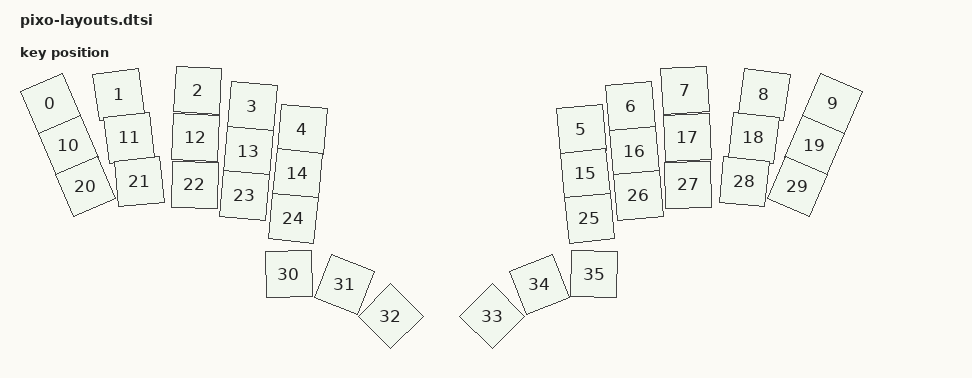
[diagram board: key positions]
#include <physical_layouts.dtsi>
/ {
    pixo_physical_layout: pixo_physical_layout {
        compatible = "zmk,physical-layout";
        display-name = "Pixo";
        kscan = <&kscan0>;
        transform = <&default_transform>;

        keys  //                     w   h    x    y     rot    rx    ry
            = <&key_physical_attrs 100 100    0   27 (-2340)    50    77>
            , <&key_physical_attrs 100 100  137    8  (-790)   187    58>
            , <&key_physical_attrs 100 100  295    0     321   345    50>
            , <&key_physical_attrs 100 100  404   32     475   454    82>
            , <&key_physical_attrs 100 100  504   78     501   554   128>
            , <&key_physical_attrs 100 100 1062   78  (-501)  1112   128>
            , <&key_physical_attrs 100 100 1161   32  (-475)  1211    82>
            , <&key_physical_attrs 100 100 1270    0  (-321)  1320    50>
            , <&key_physical_attrs 100 100 1428    8     790  1478    58>
            , <&key_physical_attrs 100 100 1565   27    2340  1615    77>
            , <&key_physical_attrs 100 100   36  110 (-2340)    86   160>
            , <&key_physical_attrs 100 100  158   95  (-690)   208   145>
            , <&key_physical_attrs 100 100  291   95     221   341   145>
            , <&key_physical_attrs 100 100  397  122     475   447   172>
            , <&key_physical_attrs 100 100  495  167     541   545   217>
            , <&key_physical_attrs 100 100 1070  167  (-541)  1120   217>
            , <&key_physical_attrs 100 100 1168  122  (-475)  1218   172>
            , <&key_physical_attrs 100 100 1274   95  (-221)  1324   145>
            , <&key_physical_attrs 100 100 1407   95     690  1457   145>
            , <&key_physical_attrs 100 100 1529  110    2340  1579   160>
            , <&key_physical_attrs 100 100   71  192 (-2340)   121   242>
            , <&key_physical_attrs 100 100  178  183  (-590)   228   233>
            , <&key_physical_attrs 100 100  289  189     121   339   239>
            , <&key_physical_attrs 100 100  389  211     475   439   261>
            , <&key_physical_attrs 100 100  486  256     581   536   306>
            , <&key_physical_attrs 100 100 1079  256  (-581)  1129   306>
            , <&key_physical_attrs 100 100 1176  211  (-475)  1226   261>
            , <&key_physical_attrs 100 100 1276  189  (-121)  1326   239>
            , <&key_physical_attrs 100 100 1388  183     590  1438   233>
            , <&key_physical_attrs 100 100 1494  192    2340  1544   242>
            , <&key_physical_attrs 100 100  477  368  (-119)   527   418>
            , <&key_physical_attrs 100 100  588  389    2181   638   439>
            , <&key_physical_attrs 100 100  681  452    4481   731   502>
            , <&key_physical_attrs 100 100  884  452 (-4481)   934   502>
            , <&key_physical_attrs 100 100  978  389 (-2181)  1028   439>
            , <&key_physical_attrs 100 100 1088  368     119  1138   418>
            ;
    };

    position_map {
        compatible = "zmk,physical-layout-position-map";
        complete;
        default_layout: default_layout {
            physical-layout = <&pixo_physical_layout>;
            positions 
                = < 0   1   2   3   4   5   6   7   8   9>
                , <10  11  12  13  14  15  16  17  18  19>
                , <20  21  22  23  24  25  26  27  28  29>
                , <        30  31  32  33  34  35        >;
        };
    };
};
